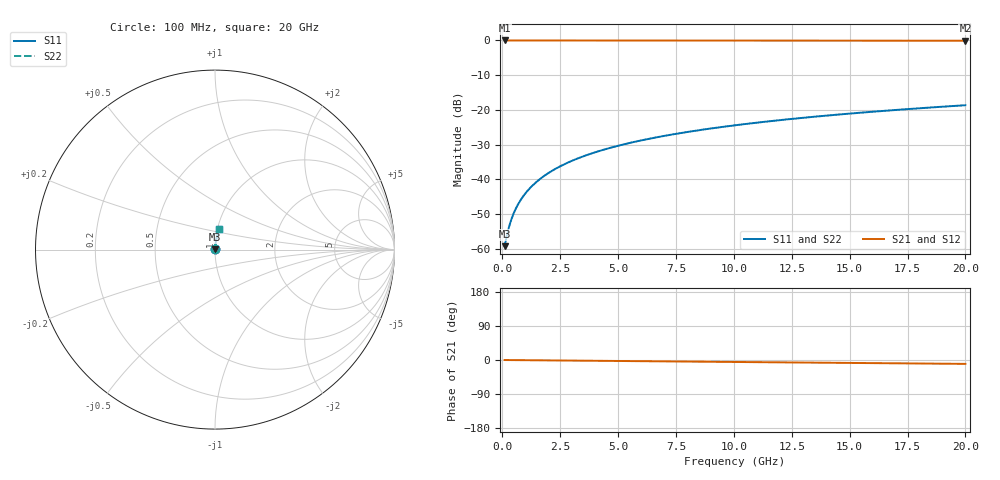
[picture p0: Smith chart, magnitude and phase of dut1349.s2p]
! Touchstone file exported from HFSS 2026.1.0
!  File:  C:/ffzhzh/LocalFiles/Ansys_Project_Files/temp_train_TMRDL_1349_1783165501_55132.aedt
!  Generated:  07:46:06 PM Jul  4, 2026
!  Design:  TMRDL
!  Project:  temp_train_TMRDL_1349_1783165501_55132
! Variables:
!  h_bsmrdl = 2um
!  h_ox = 20um
!  h_rdl = 5um
!  h_sub = 80um
!  h_tmrdl = 4.82um
!  h_tsv = 80um
!  h_via = 3um
!  l_bsmrdl = 300um
!  l_sub = 516.05um
!  l_tmrdl = 116.05um
!  m_sub = 200um
!  pitch = 35.57um
!  r_tsv = 6um
!  s_tmrdl = 10um
!  w_bsmrdl = 18um
!  w_sub = 500um
!  w_tmrdl = 11.22um
!  x_tsv_center1 = 121.66um
!  x_tsv_center2 = 439.66um
!  x_tsv_center3 = 566.93um
!  x_tsv_center4 = 884.93um
!  x_tsv_center5 = 1012.2um
!  x_tsv_center6 = 1330.2um
# GHz S MA R 50.000000
! Terminal data exported
! Port[1] = TM_RDL1_1_T1
! Port[2] = TM_RDL1_1_T2
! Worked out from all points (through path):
!   200 points, 100 MHz to 20 GHz, reference 50 ohm
!   highest |S21| = -0.01 dB at 100 MHz (marker M1); lowest = -0.1 dB at 20 GHz (marker M2)
!   group delay of S21, straight-line fit = 1.42 ps
!   lowest |S11| = -59.3 dB at 100 MHz (marker M3), VSWR 1.00, Z = 50.1 + j0.0644 ohm
!   |S11| at or under -10 dB: start of sweep to end of sweep
!   |S22| runs from -59.3 to -18.7 dB; largest |S21 - S12| = 2.4e-15
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0.1  0.001086 36.3  0.9991 -0.1  0.9991 -0.1  0.001086 36.3
! Gamma 0 0 0 0
! Port Impedance 50 0 50 0
0.2  0.00156 55.0  0.9991 -0.1  0.9991 -0.1  0.00156 55.0
0.3  0.002114 64.2  0.9991 -0.2  0.9991 -0.2  0.002114 64.2
0.4  0.002692 69.5  0.9991 -0.2  0.9991 -0.2  0.002692 69.5
0.5  0.00328 72.8  0.999 -0.3  0.999 -0.3  0.00328 72.8
0.6  0.003873 75.2  0.999 -0.3  0.999 -0.3  0.003873 75.2
0.8  0.005068 78.3  0.999 -0.4  0.999 -0.4  0.005068 78.3
1.1  0.006875 80.8  0.9989 -0.6  0.9989 -0.6  0.006875 80.8
1.5  0.009296 82.6  0.9989 -0.8  0.9989 -0.8  0.009296 82.6
1.8  0.01112 83.4  0.9988 -1.0  0.9988 -1.0  0.01112 83.4
2.1  0.01294 83.8  0.9988 -1.1  0.9988 -1.1  0.01294 83.8
2.7  0.01657 84.3  0.9986 -1.4  0.9986 -1.4  0.01657 84.3
3.5  0.0214 84.5  0.9984 -1.8  0.9984 -1.8  0.0214 84.5
4.2  0.0256 84.5  0.9982 -2.2  0.9982 -2.2  0.0256 84.5
5  0.03037 84.3  0.9979 -2.6  0.9979 -2.6  0.03037 84.3
5.9  0.0357 84.0  0.9976 -3.1  0.9976 -3.1  0.0357 84.0
6.8  0.041 83.7  0.9972 -3.6  0.9972 -3.6  0.041 83.7
8.3  0.04977 83.1  0.9965 -4.3  0.9965 -4.3  0.04977 83.1
10.1  0.0602 82.3  0.9957 -5.2  0.9957 -5.2  0.0602 82.3
13.4  0.07916 80.9  0.9939 -6.9  0.9939 -6.9  0.07916 80.9
16.7  0.09794 79.5  0.9919 -8.6  0.9919 -8.6  0.09794 79.5
20  0.1165 78.0  0.9895 -10.2  0.9895 -10.2  0.1165 78.0
